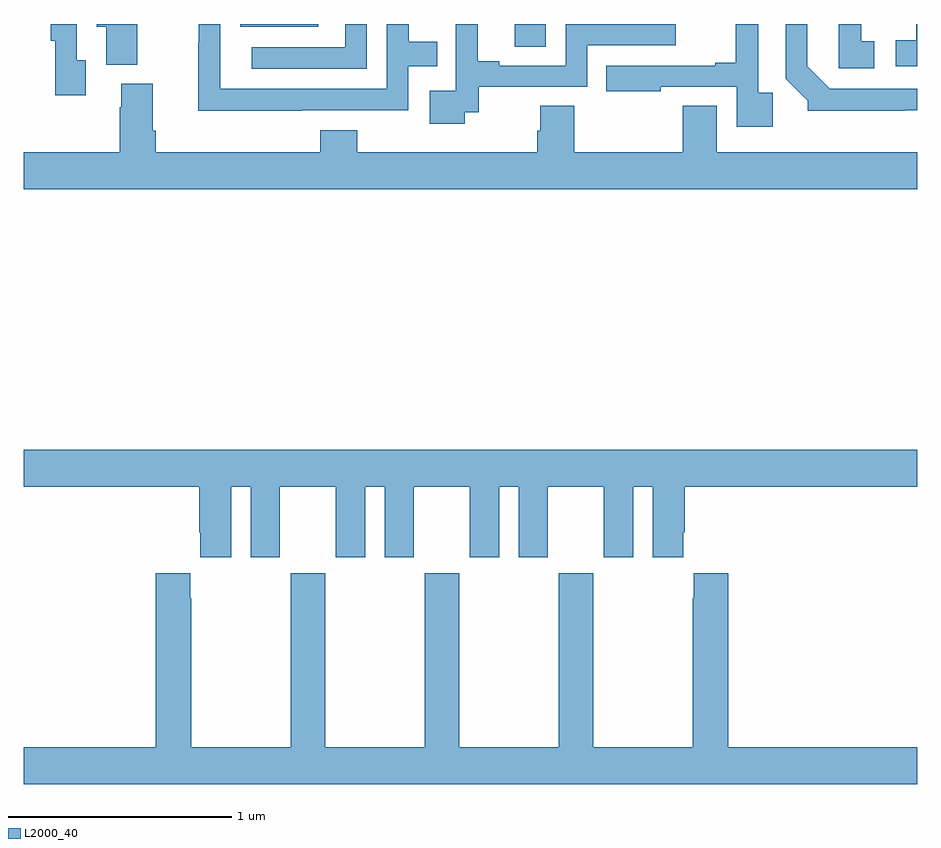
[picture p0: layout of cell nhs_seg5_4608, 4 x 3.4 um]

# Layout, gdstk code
import gdstk
lib = gdstk.Library(unit=1e-6, precision=1e-09)
def R(c, l, rs):  # rectangles x0, y0, x1, y1
    for r in rs: c.add(gdstk.rectangle(r[:2], r[2:], *l))
def P(c, l, *ps):  # polygons
    for p in ps: c.add(gdstk.Polygon(p, *l))
L2000_40 = (2000, 40)

nhs_seg5_4608 = lib.new_cell('nhs_seg5_4608')
R(nhs_seg5_4608, L2000_40, [(383.198,890.698,383.338,890.799), (381.968,890.786,382.318,890.799)])
P(nhs_seg5_4608, L2000_40, [(384.944,890.412),(385,890.412),(385,890.508),(384.609,890.508),(384.508,890.609),(384.508,890.799),(384.411,890.799),(384.411,890.554),(384.51,890.455),(384.51,890.411),(384.944,890.411)],
  [(381.508,890.799),(381.326,890.799),(381.326,890.786),(381.368,890.786),(381.368,890.617),(381.508,890.617)],
  [(384.808,890.721),(384.75,890.721),(384.75,890.799),(384.65,890.799),(384.65,890.601),(384.808,890.601)],
  [(382.244,890.412),(382.722,890.412),(382.722,890.61),(382.85,890.61),(382.85,890.719),(382.723,890.719),(382.723,890.799),(382.626,890.799),(382.626,890.508),(381.879,890.508),(381.879,890.799),(381.783,890.799),(381.783,890.714),(381.782,890.714),(381.782,890.411),(382.244,890.411)],
  [(382.974,890.403),(383.036,890.403),(383.036,890.517),(383.523,890.517),(383.523,890.703),(383.918,890.703),(383.918,890.799),(383.427,890.799),(383.427,890.613),(383.128,890.613),(383.128,890.633),(383.032,890.633),(383.032,890.799),(382.935,890.799),(382.935,890.499),(382.818,890.499),(382.818,890.352),(382.974,890.352)],
  [(381.277,890.637),(381.237,890.637),(381.237,890.799),(381.121,890.799),(381.121,890.725),(381.14,890.725),(381.14,890.481),(381.277,890.481)],
  [(382.536,890.799),(382.44,890.799),(382.44,890.694),(382.02,890.694),(382.02,890.598),(382.536,890.598)],
  [(384.353,890.491),(384.288,890.491),(384.288,890.799),(384.187,890.799),(384.187,890.626),(384.095,890.626),(384.095,890.613),(383.608,890.613),(383.608,890.498),(383.851,890.498),(383.851,890.517),(384.192,890.517),(384.192,890.34),(384.353,890.34)],
  [(385,890.799),(384.997,890.799),(384.997,890.726),(384.903,890.726),(384.903,890.61),(385,890.61)],
  [(385,890.224),(384.103,890.224),(384.103,890.432),(383.951,890.432),(383.951,890.224),(383.465,890.224),(383.465,890.432),(383.312,890.432),(383.312,890.322),(383.3,890.322),(383.3,890.224),(382.493,890.224),(382.493,890.323),(382.328,890.323),(382.328,890.224),(381.59,890.224),(381.59,890.32),(381.577,890.32),(381.577,890.532),(381.437,890.532),(381.437,890.426),(381.43,890.426),(381.43,890.224),(381,890.224),(381,890.06),(385,890.06)],
  [(381.928,888.728),(382.016,888.728),(382.016,888.411),(382.147,888.411),(382.147,888.728),(382.397,888.728),(382.397,888.411),(382.528,888.411),(382.528,888.728),(382.616,888.728),(382.616,888.411),(382.747,888.411),(382.747,888.728),(382.997,888.728),(382.997,888.411),(383.128,888.411),(383.128,888.728),(383.216,888.728),(383.216,888.411),(383.347,888.411),(383.347,888.728),(383.597,888.728),(383.597,888.411),(383.728,888.411),(383.728,888.728),(383.816,888.728),(383.816,888.411),(383.953,888.411),(383.953,888.523),(383.96,888.523),(383.96,888.728),(385,888.728),(385,888.892),(381,888.892),(381,888.728),(381.785,888.728),(381.785,888.523),(381.791,888.523),(381.791,888.411),(381.928,888.411)],
  [(381.745,888.227),(381.745,888.34),(381.59,888.34),(381.59,887.56),(381,887.56),(381,887.396),(385,887.396),(385,887.56),(384.155,887.56),(384.155,888.34),(383.999,888.34),(383.999,888.227),(383.995,888.227),(383.995,887.56),(383.55,887.56),(383.55,888.34),(383.395,888.34),(383.395,887.56),(382.95,887.56),(382.95,888.34),(382.795,888.34),(382.795,887.56),(382.35,887.56),(382.35,888.34),(382.195,888.34),(382.195,887.56),(381.75,887.56),(381.75,888.227)])

lib.write_gds('nhs_seg5_4608.gds')
